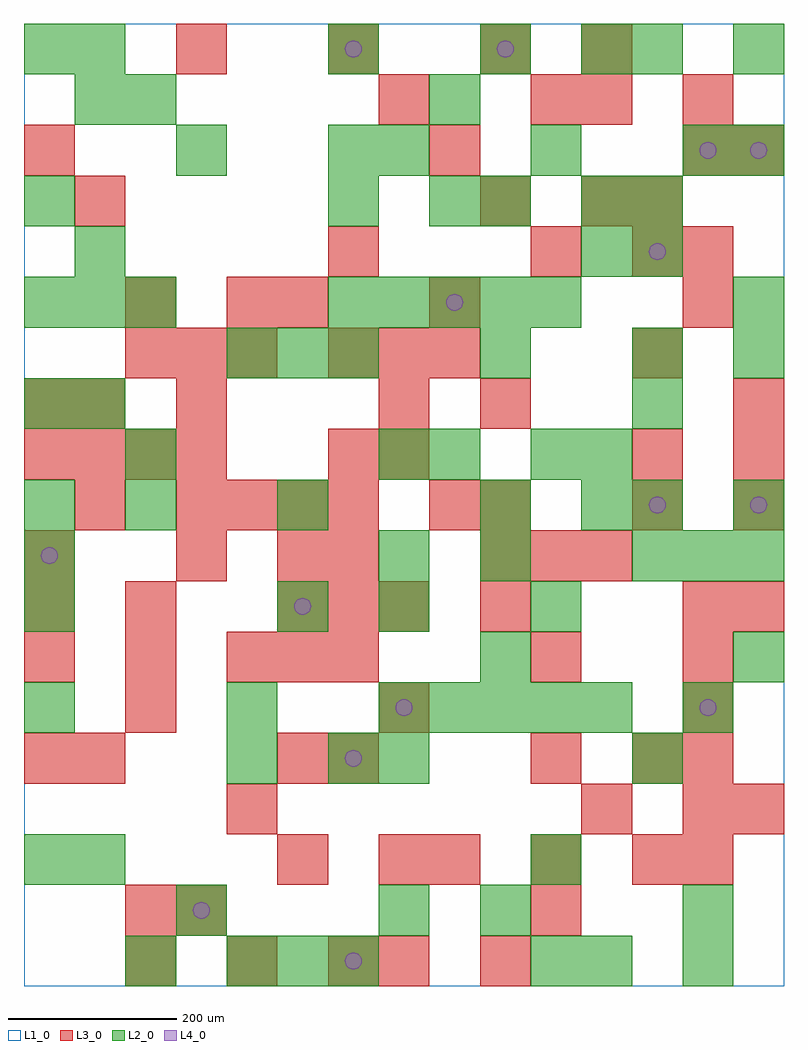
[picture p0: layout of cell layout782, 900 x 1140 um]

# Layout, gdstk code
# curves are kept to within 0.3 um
import gdstk
lib = gdstk.Library(unit=1e-6, precision=1e-09)
def R(c, l, rs):  # rectangles x0, y0, x1, y1
    for r in rs: c.add(gdstk.rectangle(r[:2], r[2:], *l))
def A(c, l, x, y, w, h, nx, ny, dx, dy):  # array of equal rectangles
    R(c, l, [(x+i*dx, y+j*dy, x+i*dx+w, y+j*dy+h) for i in range(nx) for j in range(ny)])
def P(c, l, *ps):  # polygons
    for p in ps: c.add(gdstk.Polygon(p, *l))
L1_0 = (1, 0)
L2_0 = (2, 0)
L3_0 = (3, 0)
L4_0 = (4, 0)

layout782 = lib.new_cell('layout782')
R(layout782, L1_0, [(0,0,900,1140)])
A(layout782, L2_0, 240, 0, 60, 60, 3, 2, 60, 720)
A(layout782, L2_0, 420, 60, 60, 60, 1, 3, 0, 180)
A(layout782, L2_0, 420, 300, 60, 60, 5, 1, 60, 0)
A(layout782, L2_0, 840, 360, 60, 60, 1, 3, 0, 180)
A(layout782, L2_0, 0, 420, 60, 60, 1, 3, 0, 60)
A(layout782, L2_0, 720, 480, 60, 60, 3, 1, 60, 0)
A(layout782, L2_0, 540, 540, 60, 60, 1, 4, 0, 180)
A(layout782, L2_0, 60, 660, 60, 60, 1, 3, 0, 180)
A(layout782, L2_0, 0, 780, 60, 60, 3, 1, 60, 0)
A(layout782, L2_0, 360, 780, 60, 60, 5, 1, 60, 0)
A(layout782, L2_0, 420, 960, 60, 60, 3, 1, 180, 0)
R(layout782, L2_0, [(120,0,180,60), (600,0,660,60), (660,0,720,60), (780,0,840,60), (180,60,240,120), (540,60,600,120), (780,60,840,120), (0,120,60,180), (60,120,120,180), (600,120,660,180), (240,240,300,300), (360,240,420,300), (720,240,780,300), (0,300,60,360), (240,300,300,360), (780,300,840,360), (540,360,600,420), (300,420,360,480), (600,420,660,480), (420,480,480,540), (540,480,600,540), (120,540,180,600), (300,540,360,600), (660,540,720,600), (720,540,780,600), (120,600,180,660), (420,600,480,660), (480,600,540,660), (600,600,660,660), (660,600,720,660), (0,660,60,720), (720,660,780,720), (720,720,780,780), (840,780,900,840), (660,840,720,900), (720,840,780,900), (0,900,60,960), (360,900,420,960), (480,900,540,960), (660,900,720,960), (720,900,780,960), (180,960,240,1020), (360,960,420,1020), (840,960,900,1020), (120,1020,180,1080), (480,1020,540,1080), (0,1080,60,1140), (60,1080,120,1140), (360,1080,420,1140), (660,1080,720,1140), (720,1080,780,1140), (840,1080,900,1140)])
A(layout782, L3_0, 120, 0, 60, 60, 3, 1, 120, 0)
A(layout782, L3_0, 300, 120, 60, 60, 1, 4, 0, 120)
A(layout782, L3_0, 480, 120, 60, 60, 3, 1, 120, 0)
A(layout782, L3_0, 780, 120, 60, 60, 1, 6, 0, 60)
A(layout782, L3_0, 360, 240, 60, 60, 1, 4, 0, 120)
A(layout782, L3_0, 0, 360, 60, 60, 3, 1, 120, 0)
A(layout782, L3_0, 300, 420, 60, 60, 3, 1, 60, 0)
A(layout782, L3_0, 540, 420, 60, 60, 1, 3, 0, 120)
A(layout782, L3_0, 540, 480, 60, 60, 3, 1, 60, 0)
A(layout782, L3_0, 180, 540, 60, 60, 4, 1, 60, 0)
A(layout782, L3_0, 840, 540, 60, 60, 1, 3, 0, 60)
A(layout782, L3_0, 0, 600, 60, 60, 4, 1, 60, 0)
A(layout782, L3_0, 720, 600, 60, 60, 1, 3, 0, 120)
A(layout782, L3_0, 120, 720, 60, 60, 3, 1, 60, 0)
A(layout782, L3_0, 360, 720, 60, 60, 3, 1, 60, 0)
A(layout782, L3_0, 180, 1080, 60, 60, 3, 1, 180, 0)
R(layout782, L3_0, [(420,0,480,60), (540,0,600,60), (120,60,180,120), (180,60,240,120), (600,60,660,120), (420,120,480,180), (240,180,300,240), (660,180,720,240), (840,180,900,240), (0,240,60,300), (60,240,120,300), (600,240,660,300), (720,240,780,300), (120,300,180,360), (420,300,480,360), (600,360,660,420), (0,420,60,480), (120,420,180,480), (840,420,900,480), (0,480,60,540), (180,480,240,540), (60,540,120,600), (480,540,540,600), (720,540,780,600), (420,600,480,660), (0,660,60,720), (60,660,120,720), (180,660,240,720), (420,660,480,720), (120,780,180,840), (240,780,300,840), (300,780,360,840), (480,780,540,840), (780,780,840,840), (360,840,420,900), (600,840,660,900), (780,840,840,900), (60,900,120,960), (540,900,600,960), (660,900,720,960), (720,900,780,960), (0,960,60,1020), (480,960,540,1020), (780,960,840,1020), (840,960,900,1020), (420,1020,480,1080), (600,1020,660,1080), (660,1020,720,1080), (780,1020,840,1080), (660,1080,720,1140)])
P(layout782, L4_0, [(40,510),(39.239,513.827),(37.071,517.071),(33.827,519.239),(30,520),(26.173,519.239),(22.929,517.071),(20.761,513.827),(20,510),(20.761,506.173),(22.929,502.929),(26.173,500.761),(30,500),(33.827,500.761),(37.071,502.929),(39.239,506.173)],
  [(220,90),(219.239,93.827),(217.071,97.071),(213.827,99.239),(210,100),(206.173,99.239),(202.929,97.071),(200.761,93.827),(200,90),(200.761,86.173),(202.929,82.929),(206.173,80.761),(210,80),(213.827,80.761),(217.071,82.929),(219.239,86.173)],
  [(340,450),(339.239,453.827),(337.071,457.071),(333.827,459.239),(330,460),(326.173,459.239),(322.929,457.071),(320.761,453.827),(320,450),(320.761,446.173),(322.929,442.929),(326.173,440.761),(330,440),(333.827,440.761),(337.071,442.929),(339.239,446.173)],
  [(400,30),(399.239,33.827),(397.071,37.071),(393.827,39.239),(390,40),(386.173,39.239),(382.929,37.071),(380.761,33.827),(380,30),(380.761,26.173),(382.929,22.929),(386.173,20.761),(390,20),(393.827,20.761),(397.071,22.929),(399.239,26.173)],
  [(400,270),(399.239,273.827),(397.071,277.071),(393.827,279.239),(390,280),(386.173,279.239),(382.929,277.071),(380.761,273.827),(380,270),(380.761,266.173),(382.929,262.929),(386.173,260.761),(390,260),(393.827,260.761),(397.071,262.929),(399.239,266.173)],
  [(400,1110),(399.239,1113.827),(397.071,1117.071),(393.827,1119.239),(390,1120),(386.173,1119.239),(382.929,1117.071),(380.761,1113.827),(380,1110),(380.761,1106.173),(382.929,1102.929),(386.173,1100.761),(390,1100),(393.827,1100.761),(397.071,1102.929),(399.239,1106.173)],
  [(460,330),(459.239,333.827),(457.071,337.071),(453.827,339.239),(450,340),(446.173,339.239),(442.929,337.071),(440.761,333.827),(440,330),(440.761,326.173),(442.929,322.929),(446.173,320.761),(450,320),(453.827,320.761),(457.071,322.929),(459.239,326.173)],
  [(520,810),(519.239,813.827),(517.071,817.071),(513.827,819.239),(510,820),(506.173,819.239),(502.929,817.071),(500.761,813.827),(500,810),(500.761,806.173),(502.929,802.929),(506.173,800.761),(510,800),(513.827,800.761),(517.071,802.929),(519.239,806.173)],
  [(580,1110),(579.239,1113.827),(577.071,1117.071),(573.827,1119.239),(570,1120),(566.173,1119.239),(562.929,1117.071),(560.761,1113.827),(560,1110),(560.761,1106.173),(562.929,1102.929),(566.173,1100.761),(570,1100),(573.827,1100.761),(577.071,1102.929),(579.239,1106.173)],
  [(760,570),(759.239,573.827),(757.071,577.071),(753.827,579.239),(750,580),(746.173,579.239),(742.929,577.071),(740.761,573.827),(740,570),(740.761,566.173),(742.929,562.929),(746.173,560.761),(750,560),(753.827,560.761),(757.071,562.929),(759.239,566.173)],
  [(760,870),(759.239,873.827),(757.071,877.071),(753.827,879.239),(750,880),(746.173,879.239),(742.929,877.071),(740.761,873.827),(740,870),(740.761,866.173),(742.929,862.929),(746.173,860.761),(750,860),(753.827,860.761),(757.071,862.929),(759.239,866.173)],
  [(820,330),(819.239,333.827),(817.071,337.071),(813.827,339.239),(810,340),(806.173,339.239),(802.929,337.071),(800.761,333.827),(800,330),(800.761,326.173),(802.929,322.929),(806.173,320.761),(810,320),(813.827,320.761),(817.071,322.929),(819.239,326.173)],
  [(820,990),(819.239,993.827),(817.071,997.071),(813.827,999.239),(810,1000),(806.173,999.239),(802.929,997.071),(800.761,993.827),(800,990),(800.761,986.173),(802.929,982.929),(806.173,980.761),(810,980),(813.827,980.761),(817.071,982.929),(819.239,986.173)],
  [(880,570),(879.239,573.827),(877.071,577.071),(873.827,579.239),(870,580),(866.173,579.239),(862.929,577.071),(860.761,573.827),(860,570),(860.761,566.173),(862.929,562.929),(866.173,560.761),(870,560),(873.827,560.761),(877.071,562.929),(879.239,566.173)],
  [(880,990),(879.239,993.827),(877.071,997.071),(873.827,999.239),(870,1000),(866.173,999.239),(862.929,997.071),(860.761,993.827),(860,990),(860.761,986.173),(862.929,982.929),(866.173,980.761),(870,980),(873.827,980.761),(877.071,982.929),(879.239,986.173)])

lib.write_gds('layout782.gds')
